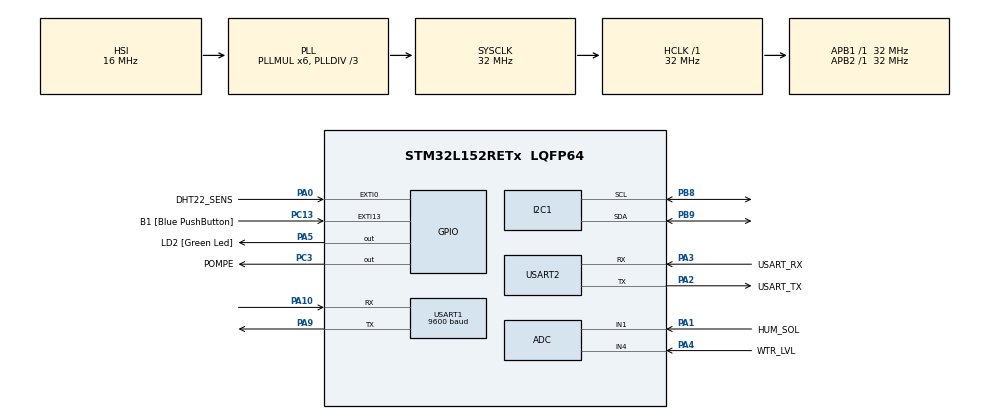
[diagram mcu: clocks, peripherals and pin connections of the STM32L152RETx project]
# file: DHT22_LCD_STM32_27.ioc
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Mcu.Family=STM32L1
PH0-OSC_IN.Signal=RCC_OSC_IN
NVIC.I2C1_EV_IRQn=true\:0\:0\:false\:false\:true\:true\:true
ADC.Rank-0\#ChannelRegularConversion=1
USART1.BaudRate=9600
PA14.GPIO_Label=TCK
RCC.SYSCLKSource=RCC_SYSCLKSOURCE_PLLCLK
ProjectManager.StackSize=0x400
VP_TIM7_VS_ClockSourceINT.Mode=Enable_Timer
RCC.PLLDIV=RCC_PLL_DIV3
PA4.Mode=IN4
RCC.HCLKFreq_Value=32000000
PC13-WKUP2.GPIO_Label=B1 [Blue PushButton]
RCC.APB2TimFreq_Value=32000000
PC3.Signal=GPIO_Output
TIM7.Period=10-1
RCC.AHBFreq_Value=32000000
PH0-OSC_IN.Mode=HSE-External-Clock-Source
RCC.HSE_VALUE=8000000
PC13-WKUP2.Signal=GPXTI13
RCC.PLLMUL=RCC_PLL_MUL6
PC14-OSC32_IN.Mode=LSE-External-Oscillator
RCC.RTCClockSelectionVirtual=RCC_RTCCLKSOURCE_LSE
PA14.Mode=Serial_Wire
NVIC.I2C1_ER_IRQn=true\:0\:0\:false\:false\:true\:true\:true
Mcu.Package=LQFP64
PB9.Signal=I2C1_SDA
USART2.VirtualMode=VM_ASYNC
RCC.USBOutput=48000000
PA2.GPIO_Label=USART_TX
PA10.Signal=USART1_RX
ADC.Channel-0\#ChannelRegularConversion=ADC_CHANNEL_1
RCC.APB1TimFreq_Value=32000000
NVIC.USART1_IRQn=true\:0\:0\:false\:false\:true\:true\:true
PA4.GPIO_Label=WTR_LVL
NVIC.TIM7_IRQn=true\:0\:0\:false\:false\:true\:true\:true
PA3.Signal=USART2_RX
PB3.GPIO_Label=SWO
RCC.MSI_VALUE=2097000
PC15-OSC32_OUT.Mode=LSE-External-Oscillator
PA10.Mode=Asynchronous
PA0-WKUP1.GPIO_ModeDefaultEXTI=GPIO_MODE_IT_RISING_FALLING
PC14-OSC32_IN.Signal=RCC_OSC32_IN
NVIC.USART2_IRQn=true\:0\:0\:false\:false\:true\:true\:true
PA13.Signal=SYS_JTMS-SWDIO
PA3.Mode=Asynchronous
PA9.Mode=Asynchronous
ProjectManager.TargetToolchain=STM32CubeIDE
PB9.Mode=I2C
PA9.Signal=USART1_TX
PA0-WKUP1.Signal=GPXTI0
ADC.NbrOfConversionFlag=1
PC15-OSC32_OUT.Signal=RCC_OSC32_OUT
PA1.Signal=ADC_IN1
PA5.Signal=GPIO_Output
TIM7.Prescaler=32-1
board=NUCLEO-L152RE
RCC.VCOOutputFreq_Value=96000000
RCC.APB2Freq_Value=32000000
PA1.Mode=IN1
PA1.GPIO_Label=HUM_SOL
PH1-OSC_OUT.Signal=RCC_OSC_OUT
PA13.Mode=Serial_Wire
Mcu.Name=STM32L152RETx
PA13.GPIO_Label=TMS
PA2.Signal=USART2_TX
RCC.48MHZClocksFreq_Value=48000000
PB3.Signal=SYS_JTDO-TRACESWO
NVIC.EXTI0_IRQn=true\:0\:0\:false\:false\:true\:true\:true
PA4.Signal=ADC_IN4
RCC.SYSCLKFreq_VALUE=32000000
PA5.GPIO_Label=LD2 [Green Led]
USART1.VirtualMode=VM_ASYNC
PA14.Signal=SYS_JTCK-SWCLK
PA0-WKUP1.GPIO_Label=DHT22_SENS
ProjectManager.HeapSize=0x200
PA0-WKUP1.GPIO_PuPd=GPIO_PULLUP
RCC.HSI_VALUE=16000000
NVIC.PriorityGroup=NVIC_PRIORITYGROUP_0
PB8.Mode=I2C
PA2.Mode=Asynchronous
PB8.Signal=I2C1_SCL
PC3.GPIO_Label=POMPE
ADC.SamplingTime-0\#ChannelRegularConversion=ADC_SAMPLETIME_4CYCLES
RCC.APB1Freq_Value=32000000
PA3.GPIO_Label=USART_RX

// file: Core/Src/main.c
/* USER CODE BEGIN Header */
/**
  ******************************************************************************
  * @file           : main.c
  * @brief          : Main program body
  ******************************************************************************
  * @attention
  *
  * <h2><center>&copy; Copyright (c) 2021 STMicroelectronics.
  * All rights reserved.</center></h2>
  *
  * This software component is licensed by ST under BSD 3-Clause license,
  * the "License"; You may not use this file except in compliance with the
  * License. You may obtain a copy of the License at:
  *                        opensource.org/licenses/BSD-3-Clause
  *
  ******************************************************************************
  */
/* USER CODE END Header */
#include "main.h"
#include "adc.h"
#include "i2c.h"
#include "tim.h"
#include "usart.h"
#include "gpio.h"

/* USER CODE BEGIN Includes */
#include <string.h>
#include <stdio.h>

/* ---- WIFI ---- */
#include "wifly_lib.h"

/*	WIFLY_AUTH_OPEN        0    // Open (default)
	WIFLY_AUTH_WEP         1    // WEP-128
	WIFLY_AUTH_WPA1        2    // WPA1
	WIFLY_AUTH_WPA1_2      3    // Mixed-mode WPA1 and WPA2-PSK
	WIFLY_AUTH_WPA2_PSK    4    // WPA2-PSK
	WIFLY_AUTH_ADHOC       6    // Ad-hoc, join any Ad-hoc network
*/
#define _home_settings

#ifdef _smartphone_settings
	#define SSID	"Galaxy-S8"
	#define KEY		"123456789"
	#define AUTH	WIFLY_AUTH_WPA2_PSK
#endif

#ifdef _home_settings
	#define SSID	"Bbox-37DD33DC"
	#define KEY		"dpKRFLNP32ynFkkPr9"
	#define AUTH	WIFLY_AUTH_WPA2_PSK
#endif

#define URL		"httpbin.org"//"api.openweathermap.org" //"e40810fd255dcc.localhost.run"

#define HOST_IP 	"192.168.1.49" 	//IP of the server we want to access
#define HOST_PORT 	"4010" 				//The port to access
#define STD_PORT 	"80"

/* ---- LCD ---- */
#include "lib_lcd.h"
/* ---- DHT22 ---- */
#include "DHT22.h"
/* ---- TCS34725 ---- */
#include "tcs34725.h"

/* USER CODE END Includes */

void SystemClock_Config(void);

int main(void)
{

  /* MCU Configuration--------------------------------------------------------*/

  /* Reset of all peripherals, Initializes the Flash interface and the Systick. */
  HAL_Init();

  /* Configure the system clock */
  SystemClock_Config();

  /* Initialize all configured peripherals */
  MX_GPIO_Init();
  MX_USART2_UART_Init();
  MX_TIM7_Init();
  MX_I2C1_Init();
  MX_USART1_UART_Init();
  MX_ADC_Init();
  /* USER CODE BEGIN 2 */

  int ok[MAX_RCP_LEN ] = {0};
  char GET_DATA_Send[100] = "GET /ShowData?id=10";
  //char path = "/ShowData?";
  int  id = 10, temp = 2000, humA = 4560, humS = 6700 , Waterlvl = 5000;
  int reboot = 0, i =0;

  /* USER CODE END 2 */

  /* Infinite loop */
  /* USER CODE BEGIN WHILE */

  /* ----- INIT LCD ----- */

    rgb_lcd LCD_DataStruct;
    LCD_DataStruct._displaycontrol = LCD_DISPLAYON;
    LCD_DataStruct._displayfunction = LCD_2LINE;
    LCD_DataStruct._displaymode = LCD_ENTRYLEFT;

    lcd_init(&hi2c1, &LCD_DataStruct);

    reglagecouleur(50,100,255);
    HAL_Delay(1000);
    reglagecouleur(100,200,255);
    HAL_Delay(1000);
    reglagecouleur(255,255,255);
    HAL_Delay(1000);

    char text_buff[32] = "Initialisation           ";
    //sprintf(text_buff,"Temp : %.2f C",DHT22_DataStruct.T);

    lcd_position(&hi2c1,0,0);
    lcd_print(&hi2c1, text_buff);

    /* lCD INIT : DHT22 */

    sprintf(text_buff,"du DHT22              ");

    lcd_position(&hi2c1,0,1);
    lcd_print(&hi2c1, text_buff);
    HAL_Delay(500);

    /* INIT DHT22 */
     DHT22_Init(&htim7, 32e6,DHT22_SENS_GPIO_Port,DHT22_SENS_Pin, DHT22_SENS_EXTI_IRQn);
     DHT22_Data DHT22_DataStruct;

//    /* TEST : Print measures on the LCD screen */

 /*   HAL_Delay(500);

    	DHT22_DataStruct = DHT22_ReadData();
   	  if(DHT22_DataStruct.is_data_valid)
   	  {
   		  char text_buff[32];
   		  sprintf(text_buff,"Temp : %.2f C         ",DHT22_DataStruct.T);
   		  lcd_position(&hi2c1,0,1);
   		  lcd_print(&hi2c1, text_buff);
   		  HAL_Delay(1000);

   		  sprintf(text_buff,"Hum : %.2f %%         ",DHT22_DataStruct.RH);
   		  lcd_position(&hi2c1,0,1);
   		  lcd_print(&hi2c1, text_buff);
   		  HAL_Delay(1000);

   	  }
*/

   	/* ----- ADC - Water Level  ----- */

   	sprintf(text_buff,"du Niv D'eau           ");

   	lcd_position(&hi2c1,0,1);
   	lcd_print(&hi2c1, text_buff);
   	HAL_Delay(1000);

    uint16_t raw_wtr_lvl;
    char msg_raw_wtr_lvl[10];
    //int cln_wtr_lvl =0;

    /* ----- LCD INIT : TCS34 ---- */
        sprintf(text_buff,"du TCS34          ");

        lcd_position(&hi2c1,0,1);
        lcd_print(&hi2c1, text_buff);
        HAL_Delay(1000);

        float red,green,blue;

    /* lCD INIT : WIFI */
    sprintf(text_buff,"du module wifi          ");

    lcd_position(&hi2c1,0,1);
    lcd_print(&hi2c1, text_buff);

  /* -----  WIFI_authentification(SSID,AUTH,KEY);  ----- */

    commandMode();

	sendCommand("set wlan ssid " SSID "\r", "OK",ok);
	  if (strcmp(AUTH , WIFLY_AUTH_OPEN) > 0 || strcmp(AUTH , WIFLY_AUTH_OPEN) < 0 )
	    {
		  sendCommand("set wlan auth " AUTH "\r","OK", ok);
	  	  if (strcmp(AUTH , WIFLY_AUTH_WEP)==0)
	  	  {
	  		sendCommand("set wlan key " KEY "\r","OK", ok); // Key must be EXACTLY 13 bytes (26 ASCII chars)
	  	  }
	  	  else{
	  		sendCommand("set wlan phrase " KEY"\r","OK", ok);

	  	  }
	    }

   /* -----  Connect to server ----- */

  //sendCommand("set ip address 0\r","OK",ok);// so WiFly will use DNS (when of need of DNS)
  //sendCommand("set dns name " URL"\r", "AOK", ok);

  //sendCommand("set comm open *OPEN*\r","OK",ok); // set the string that the wifi shield will output when a connection is opened

  //sendCommand("open " HOST_IP " " HOST_PORT"\r","*OPEN*",ok);
  //sendCommand("open\r","*OPEN*",ok); // One time opening of connection to server

  /* -----  Save wlan config ----- */

  sendCommand("save\r", "Storing in config",ok);
  sendCommand("reboot\r", "*READY*", ok); //After reboot we directly go to dataMode

 /*

    -----  Join access point -----
    HAL_Delay(1000);
    commandMode();
    sendCommand("join " SSID "\r", "Associated!",ok);

  sendCommand("exit\r", "EXIT", ok); // go into DATA mode (mode in which we can communicate with the network/http)

 */

  while (1)
  {
    /* USER CODE END WHILE */

    /* USER CODE BEGIN 3 */

	  /*-----  Join access point -----*/

	  HAL_Delay(1000);
	  commandMode();
	  sendCommand("show  net\r", "Assoc=OK",ok);
	  if (strstr((char *)ok,"Assoc=OK")==NULL)
	  {
		  sendCommand("join\r","Associated!",ok);
		  HAL_Delay(2000);
		  sendCommand("set ip protocol 18\r","OK",ok); //enable html client
		    sendCommand("set com remote 0\r","OK",ok); // turn off the REMOTE string so it does not interfere with the post

		    sendCommand("set ip host " HOST_IP"\r","OK",ok); //set remote IP to connect to
		    sendCommand("set ip remote "HOST_PORT"\r","OK",ok); //set remote Port to connect to
	  sendCommand("set uart mode 2\r","AOK",ok); //auto connect on every UART message

	  }
	  sendCommand("exit\r","EXIT", ok);

	  /* Code Capteurs */

		  	  char text_buff[32] = "Les Mesures :       ";
		 	  lcd_position(&hi2c1,0,0);
		  	  lcd_print(&hi2c1, text_buff);

		  	  sprintf(text_buff,"                          .");
		  	  lcd_position(&hi2c1,0,1);
		  	  lcd_print(&hi2c1, text_buff);

	  // DHT22

	    DHT22_DataStruct = DHT22_ReadData();
	   	  if(DHT22_DataStruct.is_data_valid)
	   	  {
	   		  char text_buff[32];
	   		  sprintf(text_buff,"Temp : %d C       ",(int)(DHT22_DataStruct.T));
	   		  lcd_position(&hi2c1,0,1);
	   		  lcd_print(&hi2c1, text_buff);
	   		  HAL_Delay(1000);

	   		  sprintf(text_buff,"Hum : %d %%      ",(int)(DHT22_DataStruct.RH));
	   		  lcd_position(&hi2c1,0,1);
	   		  lcd_print(&hi2c1, text_buff);
	   		  HAL_Delay(1000);

	   	  }

	    // WATER LEVEL

	    // Get ADC value
	   	    HAL_ADC_Start(&hadc);
	   	    HAL_ADC_PollForConversion(&hadc, HAL_MAX_DELAY);
	   	    raw_wtr_lvl = HAL_ADC_GetValue(&hadc);

	   	    // Convert to string and print
	   	    sprintf(msg_raw_wtr_lvl, "%hu\r\n", raw_wtr_lvl);
	   	    HAL_UART_Transmit(&huart2, (uint8_t*)msg_raw_wtr_lvl, strlen(msg_raw_wtr_lvl), HAL_MAX_DELAY);

	   	    // get pourcentage value
	   	    Waterlvl = raw_wtr_lvl * 100 / 4095 ;//4095 adc 12 bits resolution

	   //affichage LCD water level

	   	 sprintf(text_buff,"Hum Terre : %d %%     ",Waterlvl);
	   	 lcd_position(&hi2c1,0,1);
	   	 lcd_print(&hi2c1, text_buff);
	   	 HAL_Delay(1000);

	   	tcs34725_get_RGB_Values(&red, &green, &blue);//lecture rgb

	   	//LCD screen take ambient color
	   	reglagecouleur((int) red,(int) green,(int) blue);

	    // affichage de la temperature sur l'ecran lcd
	    //lcd_clear();

	   	sprintf(text_buff,"R%.0d G%.0d B%.0d      ",(int) red,(int) green,(int) blue);
	    lcd_position(&hi2c1,0,1);
	    lcd_print(&hi2c1, text_buff);
	    HAL_Delay(1000);

	  /* Send measures to server */

	  snprintf(GET_DATA_Send,100,"GET %sid=%d&temp=%d&huma=%d&hums=%d&wtrlvl=%d","/ShowData?",
			  	  	  	  	  id + i, (int)(DHT22_DataStruct.T * 100), (int)(DHT22_DataStruct.RH * 100), humS, Waterlvl);

	  sendData(GET_DATA_Send,"200 OK", ok);
	  i++;

	  /* test Failure and reboot Wifi Module*/
	  if( strstr((char *)ok,"ERR") != NULL ||  strcmp((char *)ok,"") == 0 )
	  {
		  reboot ++;
		  if(reboot >= 2)
		  {
			  reboot = 0;
			  commandMode();
			  sendCommand("reboot\r", "*READY*", ok);
		  }

	  }

	  //HAL_Delay(5000);

  }
  /* USER CODE END 3 */
}

void SystemClock_Config(void)
{
  RCC_OscInitTypeDef RCC_OscInitStruct = {0};
  RCC_ClkInitTypeDef RCC_ClkInitStruct = {0};

  /** Configure the main internal regulator output voltage
  */
  __HAL_PWR_VOLTAGESCALING_CONFIG(PWR_REGULATOR_VOLTAGE_SCALE1);
  /** Initializes the RCC Oscillators according to the specified parameters
  * in the RCC_OscInitTypeDef structure.
  */
  RCC_OscInitStruct.OscillatorType = RCC_OSCILLATORTYPE_HSI;
  RCC_OscInitStruct.HSIState = RCC_HSI_ON;
  RCC_OscInitStruct.HSICalibrationValue = RCC_HSICALIBRATION_DEFAULT;
  RCC_OscInitStruct.PLL.PLLState = RCC_PLL_ON;
  RCC_OscInitStruct.PLL.PLLSource = RCC_PLLSOURCE_HSI;
  RCC_OscInitStruct.PLL.PLLMUL = RCC_PLL_MUL6;
  RCC_OscInitStruct.PLL.PLLDIV = RCC_PLL_DIV3;
  if (HAL_RCC_OscConfig(&RCC_OscInitStruct) != HAL_OK)
  {
    Error_Handler();
  }
  /** Initializes the CPU, AHB and APB buses clocks
  */
  RCC_ClkInitStruct.ClockType = RCC_CLOCKTYPE_HCLK|RCC_CLOCKTYPE_SYSCLK
                              |RCC_CLOCKTYPE_PCLK1|RCC_CLOCKTYPE_PCLK2;
  RCC_ClkInitStruct.SYSCLKSource = RCC_SYSCLKSOURCE_PLLCLK;
  RCC_ClkInitStruct.AHBCLKDivider = RCC_SYSCLK_DIV1;
  RCC_ClkInitStruct.APB1CLKDivider = RCC_HCLK_DIV1;
  RCC_ClkInitStruct.APB2CLKDivider = RCC_HCLK_DIV1;

  if (HAL_RCC_ClockConfig(&RCC_ClkInitStruct, FLASH_LATENCY_1) != HAL_OK)
  {
    Error_Handler();
  }
}

void Error_Handler(void)
{
  __disable_irq();
  while (1)
  {
  }
}

/************************ (C) COPYRIGHT STMicroelectronics *****END OF FILE****/
